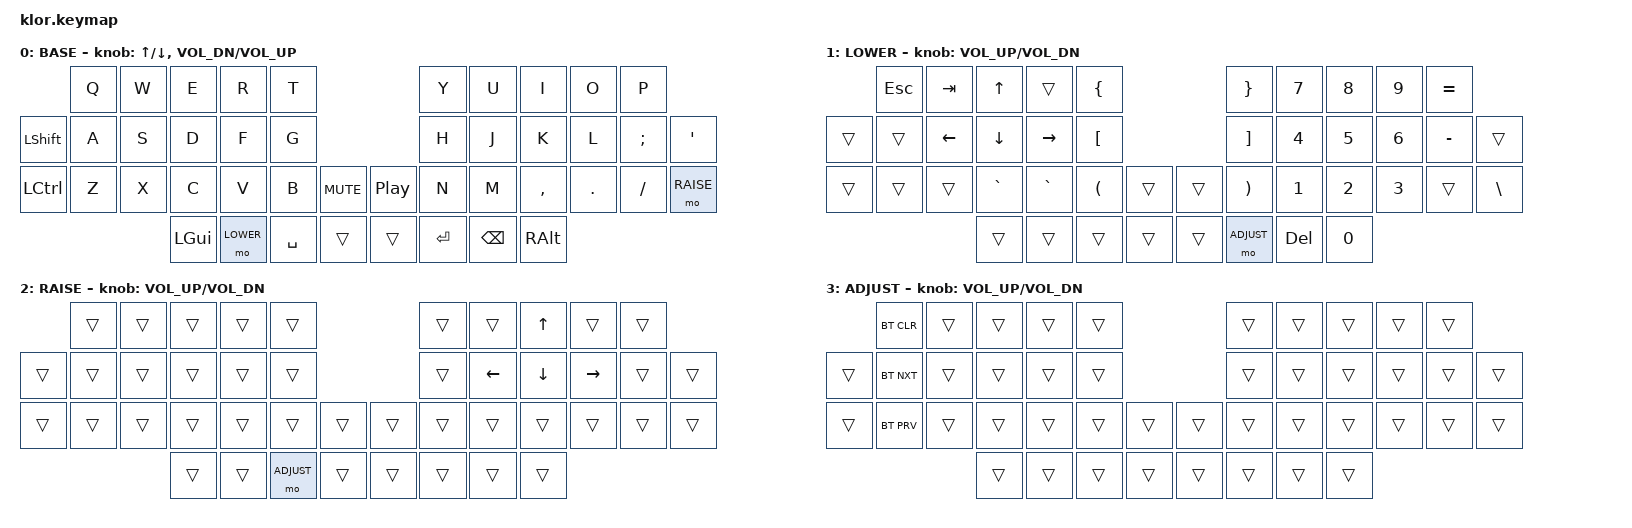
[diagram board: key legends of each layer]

//                               █         █    █            ▄▄▄▀▀▀▀▀▀▄▄▄        █▀▀▀▀▀▀▀▀▀▀█
//                               █        █     █          ▄▀            ▀▄      █          █
//                               █       █      █        ▄▀                ▀▄    █          █
//                               █      █       █        █                  █    █          █
//                               █     █        █       █                    █   █          █
//                               █    █         █       █                    █   █▄▄▄▄▄▄▄▄▄▄█
//                               █   █ █        █       █                    █   █      █
//                               █  █   █       █        █                  █    █       █
//                               ██       █     █          ▀▄            ▄▀      █         █
//
// ▄▄▄▄▄▄▄▄▄▄▄▄▄▄▄▄▄▄▄▄▄▄▄▄▄▄▄▄▄▄▄▄▄▄▄▄▄▄▄▄▄▄▄▄▄▄▄▄▄▄▄▄▄▄▄▄▄▄▄▄▄▄▄▄▄▄▄▄▄▄▄▄▄▄▄▄▄▄▄▄▄▄▄▄▄▄▄▄▄▄▄▄▄▄▄▄▄▄▄▄▄▄▄▄▄▄▄▄▄▄▄▄▄▄▄▄▄▄▄▄▄▄▄▄▄
       
#include <behaviors.dtsi>
#include <dt-bindings/zmk/keys.h>
#include <dt-bindings/zmk/bt.h>
#include <dt-bindings/zmk/outputs.h>
#include <dt-bindings/zmk/ext_power.h>
#include <dt-bindings/zmk/rgb.h>


#define BASE   0
#define LOWER  1
#define RAISE  2
#define ADJUST 3


/ {
    behaviors {
        hm: homerow_mods {
            compatible = "zmk,behavior-hold-tap";
            label = "HOMEROW_MODS";
            #binding-cells = <2>;
            tapping-term-ms = <50>;
            quick_tap_ms = <0>;
            flavor = "tap-preferred";
            bindings = <&kp>, <&kp>;
        };

    };

    //  combos {
    //         compatible = "zmk,combos";
    //         combo_esc {
    //             timeout-ms = <50>;
    //             key-positions = <0 1>;
    //             bindings = <&kp ESC>;
    //         };
    // };



        keymap {
                compatible = "zmk,keymap";
// ▄▄▄▄▄▄▄▄▄▄▄▄▄▄▄▄▄▄▄▄▄▄▄▄▄▄▄▄▄▄▄▄▄▄▄▄▄▄▄▄▄▄▄▄▄▄▄▄▄▄▄▄▄▄▄▄▄▄▄▄▄▄▄▄▄▄▄▄▄▄▄▄▄▄▄▄▄▄▄▄▄▄▄▄▄▄▄▄▄▄▄▄▄▄▄▄▄▄▄▄▄▄▄▄▄▄▄▄▄▄▄▄▄▄▄▄▄▄▄▄▄▄▄▄▄▄▄▄▄▄▄▄▄▄▄▄▄▄▄▄▄▄


                base_layer {
// ┌───────────────────────────────────────────────────────────┐
label= "BASE"                                                  ;
// └───────────────────────────────────────────────────────────┘
/*           ┌─────────┬─────────┬─────────┬─────────┬─────────┐                    ┌─────────┬─────────┬─────────┬─────────┬─────────┐
             │    Q    │    W    │    E    │    R    │    T    │                    │    Y    │    U    │    I    │    O    │    P    │   
   ┌─────────┼─────────┼─────────┼─────────┼─────────┼─────────┤                    ├─────────┼─────────┼─────────┼─────────┼─────────┼─────────┐   
   │   TAB   │    A    │    S    │    D    │    F    │    G    │                    │    H    │    J    │    K    │    L    │    :    │    "    │
   ├─────────┼─────────┼─────────┼─────────┼─────────┼─────────┤╭────────╮╭────────╮├─────────┼─────────┼─────────┼─────────┼─────────┼─────────┤
   │  CTRL   │    Z    │    X    │    C    │    V    │    B    ││  MUTE  ││PLY/PSE ││    N    │    M    │    ,    │    .    │    /    │    \    │
   └─────────┴─────────┴─────────┼─────────┼─────────┼─────────┼╰────────╯╰────────╯┼─────────┼─────────┼─────────┼─────────┴─────────┴─────────┘
                                 │   ESC   │  LOWER  │  SPACE  │   ALT   ││ CMD/WIN │  ENTER  │  RAISE  │  BSPCE  │  
                                 └─────────┴─────────┴─────────┴─────────┘└─────────┴─────────┴─────────┴─────────┘ */ 
 bindings = <
 //╷         ╷         ╷         ╷         ╷         ╷         ╷         ╷╷         ╷         ╷         ╷         ╷         ╷         ╷         ╷
              &kp Q     &kp W     &kp E     &kp R     &kp T                          &kp Y     &kp U     &kp I     &kp O     &kp P
    &kp LSHFT &kp A     &kp S     &kp D     &kp F     &kp G                          &kp H     &kp J     &kp K     &kp L     &kp SEMI  &kp SQT
    &kp LCTRL &kp Z     &kp X     &kp C     &kp V     &kp B     &kp C_MUTE &kp C_PP  &kp N     &kp M     &kp COMMA &kp DOT   &kp FSLH  &mo RAISE
                                  &kp LGUI  &mo LOWER &kp SPACE &trans      &trans   &kp RET   &kp BSPC  &kp RALT 
                        >;
            sensor-bindings = <&inc_dec_kp UP DOWN &inc_dec_kp C_VOL_DN C_VOL_UP>;
                };

// ▄▄▄▄▄▄▄▄▄▄▄▄▄▄▄▄▄▄▄▄▄▄▄▄▄▄▄▄▄▄▄▄▄▄▄▄▄▄▄▄▄▄▄▄▄▄▄▄▄▄▄▄▄▄▄▄▄▄▄▄▄▄▄▄▄▄▄▄▄▄▄▄▄▄▄▄▄▄▄▄▄▄▄▄▄▄▄▄▄▄▄▄▄▄▄▄▄▄▄▄▄▄▄▄▄▄▄▄▄▄▄▄▄▄▄▄▄▄▄▄▄▄▄▄▄▄▄▄▄▄▄▄▄▄▄▄▄▄▄▄▄▄


                lower_layer {
// ┌───────────────────────────────────────────────────────────┐
label= "LOWER"                                                 ;
// └───────────────────────────────────────────────────────────┘
/*           ┌─────────┬─────────┬─────────┬─────────┬─────────┐                    ┌─────────┬─────────┬─────────┬─────────┬─────────┐
             │   ESC   │   TAB   │    UP   │   `~    │    {    │                    │    }    │    7    │    8    │    9    │    +    │
   ┌─────────┼─────────┼─────────┼─────────┼─────────┼─────────┤                    ├─────────┼─────────┼─────────┼─────────┼─────────┼─────────┐
   │  EP TOG │ RGB EFF │   LEFT  │   DOWN  │  RIGHT  │    [    │                    │    ]    │    4    │    5    │    6    │    -    │         │
   ├─────────┼─────────┼─────────┼─────────┼─────────┼─────────┤╭────────╮╭────────╮├─────────┼─────────┼─────────┼─────────┼─────────┼─────────┤
   │         │         │         │   `~    │   `~    │    (    ││        ││        ││    )    │    1    │    2    │    3    │    *    │         │
   └─────────┴─────────┴─────────┼─────────┼─────────┼─────────┼╰────────╯╰────────╯┼─────────┼─────────┼─────────┼─────────┴─────────┴─────────┘
                                 │         │         │         │         ││         │  ADJUST │   DEL   │    0    │  
                                 └─────────┴─────────┴─────────┴─────────┘└─────────┴─────────┴─────────┴─────────┘ */ 
 bindings = <
 //╷         ╷         ╷         ╷         ╷         ╷         ╷         ╷╷         ╷         ╷         ╷         ╷         ╷         ╷         ╷
              &kp ESC   &kp TAB   &kp UP    &trans    &kp LBRC                       &kp RBRC  &kp N7    &kp N8    &kp N9    &kp EQUAL
    &trans    &trans    &kp LEFT  &kp DOWN  &kp RIGHT &kp LBKT                       &kp RBKT  &kp N4    &kp N5    &kp N6    &kp MINUS &trans
    &trans    &trans    &trans    &kp GRAVE &kp GRAVE &kp LPAR  &trans     &trans    &kp RPAR  &kp N1    &kp N2    &kp N3    &trans    &kp BSLH
                                  &trans    &trans    &trans    &trans     &trans   &mo ADJUST &kp DEL   &kp N0  
                        >;
            sensor-bindings = <&inc_dec_kp C_VOL_UP C_VOL_DN>;
                };

// ▄▄▄▄▄▄▄▄▄▄▄▄▄▄▄▄▄▄▄▄▄▄▄▄▄▄▄▄▄▄▄▄▄▄▄▄▄▄▄▄▄▄▄▄▄▄▄▄▄▄▄▄▄▄▄▄▄▄▄▄▄▄▄▄▄▄▄▄▄▄▄▄▄▄▄▄▄▄▄▄▄▄▄▄▄▄▄▄▄▄▄▄▄▄▄▄▄▄▄▄▄▄▄▄▄▄▄▄▄▄▄▄▄▄▄▄▄▄▄▄▄▄▄▄▄


                raise_layer {
// ┌───────────────────────────────────────────────────────────┐
label= "RAISE"                                                 ;
// └───────────────────────────────────────────────────────────┘
/*           ┌─────────┬─────────┬─────────┬─────────┬─────────┐                    ┌─────────┬─────────┬─────────┬─────────┬─────────┐
             │         │         │         │         │         │                    │         │         │    UP   │         │         │
   ┌─────────┼─────────┼─────────┼─────────┼─────────┼─────────┤                    ├─────────┼─────────┼─────────┼─────────┼─────────┼─────────┐
   │         │         │         │         │         │         │                    │         │   LEFT  │   DOWN  │  RIGHT  │    Ö    │         │
   ├─────────┼─────────┼─────────┼─────────┼─────────┼─────────┤╭────────╮╭────────╮├─────────┼─────────┼─────────┼─────────┼─────────┼─────────┤
   │         │         │         │         │         │         ││        ││        ││         │         │         │         │         │         │
   └─────────┴─────────┴─────────┼─────────┼─────────┼─────────┼╰────────╯╰────────╯┼─────────┼─────────┼─────────┼─────────┴─────────┴─────────┘
                                 │ ADJUST  │         │         │         ││         │         │         │         │  
                                 └─────────┴─────────┴─────────┴─────────┘└─────────┴─────────┴─────────┴─────────┘ */ 
 bindings = <
 //╷         ╷         ╷         ╷         ╷         ╷         ╷         ╷╷         ╷         ╷         ╷         ╷         ╷         ╷         ╷
              &trans    &trans    &trans    &trans    &trans                         &trans    &trans    &kp UP    &trans    &trans     
    &trans    &trans    &trans    &trans    &trans    &trans                         &trans    &kp LEFT  &kp DOWN  &kp RIGHT &trans    &trans  
    &trans    &trans    &trans    &trans    &trans    &trans    &trans     &trans    &trans    &trans    &trans    &trans    &trans    &trans
                                  &trans    &trans    &mo ADJUST    &trans     &trans    &trans    &trans    &trans  
                        >;
                sensor-bindings = <&inc_dec_kp C_VOL_UP C_VOL_DN>;
                };

// ▄▄▄▄▄▄▄▄▄▄▄▄▄▄▄▄▄▄▄▄▄▄▄▄▄▄▄▄▄▄▄▄▄▄▄▄▄▄▄▄▄▄▄▄▄▄▄▄▄▄▄▄▄▄▄▄▄▄▄▄▄▄▄▄▄▄▄▄▄▄▄▄▄▄▄▄▄▄▄▄▄▄▄▄▄▄▄▄▄▄▄▄▄▄▄▄▄▄▄▄▄▄▄▄▄▄▄▄▄▄▄▄▄▄▄▄▄▄▄▄▄▄▄▄▄


                adjust_layer {
// ┌───────────────────────────────────────────────────────────┐
label= "ADJUST"                                                ;
// └───────────────────────────────────────────────────────────┘
/*           ┌─────────┬─────────┬─────────┬─────────┬─────────┐                    ┌─────────┬─────────┬─────────┬─────────┬─────────┐
             │  BT CLR │         │         │         │         │                    │         │         │         │         │         │
   ┌─────────┼─────────┼─────────┼─────────┼─────────┼─────────┤                    ├─────────┼─────────┼─────────┼─────────┼─────────┼─────────┐
   │         │  BT NXT │         │         │         │         │                    │         │         │         │         │         │         │
   ├─────────┼─────────┼─────────┼─────────┼─────────┼─────────┤╭────────╮╭────────╮├─────────┼─────────┼─────────┼─────────┼─────────┼─────────┤
   │         │  BT PRV │         │         │         │         ││        ││        ││         │         │         │         │         │         │
   └─────────┴─────────┴─────────┼─────────┼─────────┼─────────┼╰────────╯╰────────╯┼─────────┼─────────┼─────────┼─────────┴─────────┴─────────┘
                                 │         │         │         │         ││         │         │         │         │  
                                 └─────────┴─────────┴─────────┴─────────┘└─────────┴─────────┴─────────┴─────────┘ */ 
 bindings = <
 //╷         ╷         ╷         ╷         ╷         ╷         ╷         ╷╷         ╷         ╷         ╷         ╷         ╷         ╷         ╷
             &bt BT_CLR &trans    &trans    &trans    &trans                         &trans    &trans    &trans    &trans    &trans  
    &trans   &bt BT_NXT &trans    &trans    &trans    &trans                         &trans    &trans    &trans    &trans    &trans   &trans 
    &trans   &bt BT_PRV &trans    &trans    &trans    &trans    &trans     &trans    &trans    &trans    &trans    &trans    &trans    &trans    
                                  &trans    &trans    &trans    &trans     &trans    &trans    &trans    &trans
                        >;
            sensor-bindings = <&inc_dec_kp C_VOL_UP C_VOL_DN>;
                };
        };
};
